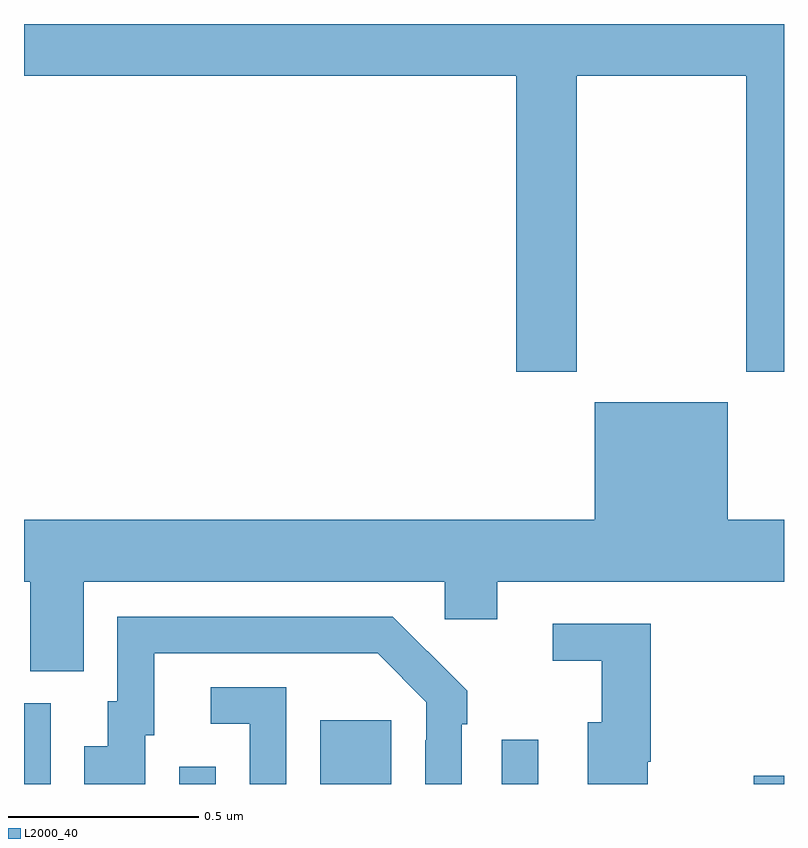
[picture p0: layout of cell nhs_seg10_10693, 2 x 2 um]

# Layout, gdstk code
import gdstk
lib = gdstk.Library(unit=1e-6, precision=1e-09)
def R(c, l, rs):  # rectangles x0, y0, x1, y1
    for r in rs: c.add(gdstk.rectangle(r[:2], r[2:], *l))
def P(c, l, *ps):  # polygons
    for p in ps: c.add(gdstk.Polygon(p, *l))
L2000_40 = (2000, 40)

nhs_seg10_10693 = lib.new_cell('nhs_seg10_10693')
R(nhs_seg10_10693, L2000_40, [(246,1250.5,246.07,1250.712), (246.408,1250.5,246.504,1250.545), (246.779,1250.5,246.967,1250.668), (247.257,1250.5,247.353,1250.617), (247.92,1250.5,248,1250.522)])
P(nhs_seg10_10693, L2000_40, [(246,1252.364),(247.295,1252.364),(247.295,1251.585),(247.455,1251.585),(247.455,1252.364),(247.9,1252.364),(247.9,1251.585),(248,1251.585),(248,1252.5),(246,1252.5)],
  [(246.157,1251.032),(247.107,1251.032),(247.107,1250.934),(247.246,1250.934),(247.246,1251.032),(248,1251.032),(248,1251.196),(247.852,1251.196),(247.852,1251.505),(247.502,1251.505),(247.502,1251.196),(246,1251.196),(246,1251.032),(246.017,1251.032),(246.017,1250.797),(246.157,1250.797)],
  [(246.319,1250.628),(246.343,1250.628),(246.343,1250.844),(246.931,1250.844),(247.059,1250.715),(247.059,1250.615),(247.056,1250.615),(247.056,1250.5),(247.152,1250.5),(247.152,1250.657),(247.167,1250.657),(247.167,1250.745),(247.062,1250.85),(247.061,1250.849),(246.97,1250.94),(246.246,1250.94),(246.246,1250.718),(246.221,1250.718),(246.221,1250.599),(246.158,1250.599),(246.158,1250.5),(246.319,1250.5)],
  [(247.642,1250.558),(247.649,1250.558),(247.649,1250.922),(247.392,1250.922),(247.392,1250.825),(247.521,1250.825),(247.521,1250.662),(247.484,1250.662),(247.484,1250.5),(247.642,1250.5)],
  [(246.69,1250.754),(246.492,1250.754),(246.492,1250.658),(246.594,1250.658),(246.594,1250.5),(246.69,1250.5)])

lib.write_gds('nhs_seg10_10693.gds')
